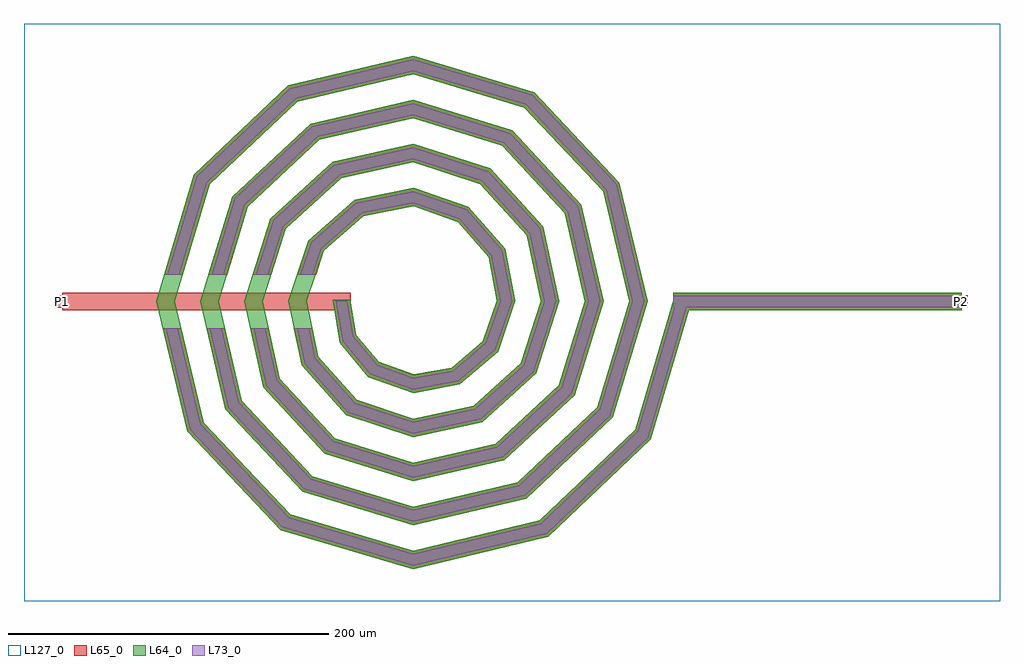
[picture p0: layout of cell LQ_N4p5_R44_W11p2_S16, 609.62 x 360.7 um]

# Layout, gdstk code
import gdstk
lib = gdstk.Library(unit=1e-6, precision=1e-09)
def R(c, l, rs):  # rectangles x0, y0, x1, y1
    for r in rs: c.add(gdstk.rectangle(r[:2], r[2:], *l))
def P(c, l, *ps):  # polygons
    for p in ps: c.add(gdstk.Polygon(p, *l))
L64_0 = (64, 0)
L65_0 = (65, 0)
L73_0 = (73, 0)
L127_0 = (127, 0)

lq_n4p5_r44_w11p2_s16 = lib.new_cell('LQ_N4p5_R44_W11p2_S16')
R(lq_n4p5_r44_w11p2_s16, L64_0, [(162.713,-5.6,342.713,5.6)])
P(lq_n4p5_r44_w11p2_s16, L64_0, [(-35.262,-20.968),(-21.22,-37.762),(0.482,-45.603),(24.347,-41.248),(43.684,-24.71),(52.478,0.425),(47.227,27.739),(28.19,49.614),(0.38,59.353),(-31.141,53.203),(-55.549,31.661),(-66.23,0.344),(-59.175,-34.55),(-35.127,-61.488),(0.314,-73.106),(37.964,-65.145),(67.431,-38.588),(79.983,0.289),(71.112,41.382),(42.047,73.375),(0.267,86.861),(-44.803,77.078),(-79.322,45.502),(-93.738,0.249),(-83.043,-48.226),(-48.955,-85.269),(0.233,-100.616),(51.652,-89.007),(91.218,-52.407),(107.493,0.219),(94.97,55.079),(55.857,97.168),(0.206,114.371),(-58.507,100.932),(-103.119,59.306),(-121.249,0.195),(-106.894,-61.937),(-62.754,-109.07),(0.185,-128.127),(65.367,-112.856),(115.022,-66.201),(135.005,0.176),(118.816,68.799),(69.647,120.974),(0.168,141.883),(-72.231,124.777),(-126.926,73.093),(-148.761,0.16),(-130.737,-75.664),(-76.538,-132.879),(0.154,-155.639),(79.097,-136.697),(138.833,-79.983),(162.942,1.587),(173.683,-1.587),(148.722,-86.037),(84.63,-146.887),(0.154,-167.23),(-82.604,-142.762),(-140.933,-81.185),(-160.352,0.16),(-136.802,79.171),(-77.74,134.98),(0.168,153.474),(75.738,130.841),(129.027,74.294),(146.595,0.176),(124.88,-72.306),(70.847,-123.075),(0.185,-139.717),(-68.875,-118.918),(-117.123,-67.4),(-132.838,0.195),(-112.956,65.445),(-63.951,111.171),(0.206,125.96),(62.016,106.994),(105.22,60.501),(119.081,0.219),(101.03,-58.588),(57.05,-99.27),(0.233,-112.203),(-55.161,-95.066),(-93.321,-53.598),(-105.324,0.249),(-89.1,51.736),(-50.143,87.372),(0.267,98.445),(48.314,83.133),(81.425,46.686),(91.566,0.289),(77.164,-44.894),(43.226,-75.479),(0.314,-84.687),(-41.477,-71.193),(-69.536,-39.762),(-77.807,0.344),(-65.219,38.065),(-36.292,63.594),(0.38,70.927),(34.658,59.241),(57.657,32.816),(64.046,0.425),(53.258,-31.259),(29.33,-51.723),(0.482,-57.164),(-27.871,-47.267),(-45.796,-25.83),(-50.027,0.938),(-38.985,0.938)])
R(lq_n4p5_r44_w11p2_s16, L65_0, [(-218.906,-5.6,-38.906,5.6), (162.713,-5.6,342.713,5.6), (-222.906,-4,-214.906,4), (338.713,-4,346.713,4)])
P(lq_n4p5_r44_w11p2_s16, L65_0, [(-130.737,-75.664),(-76.538,-132.879),(0.154,-155.639),(79.097,-136.697),(138.833,-79.983),(162.942,1.587),(173.683,-1.587),(148.722,-86.037),(84.63,-146.887),(0.154,-167.23),(-82.604,-142.762),(-140.934,-81.185),(-156.303,-16.8),(-144.789,-16.8)],
  [(-106.894,-61.937),(-62.754,-109.07),(0.185,-128.127),(65.367,-112.856),(115.022,-66.201),(135.005,0.176),(118.816,68.799),(69.647,120.974),(0.168,141.883),(-72.231,124.777),(-126.926,73.093),(-143.705,16.8),(-155.392,16.8),(-136.802,79.171),(-77.74,134.98),(0.168,153.474),(75.738,130.841),(129.028,74.294),(146.595,0.176),(124.88,-72.306),(70.847,-123.075),(0.185,-139.717),(-68.875,-118.919),(-117.123,-67.4),(-128.887,-16.8),(-117.388,-16.8)],
  [(-83.043,-48.226),(-48.955,-85.269),(0.233,-100.616),(51.652,-89.007),(91.218,-52.407),(107.493,0.219),(94.97,55.079),(55.857,97.168),(0.206,114.371),(-58.507,100.933),(-103.119,59.306),(-116.07,16.8),(-127.779,16.8),(-112.956,65.445),(-63.951,111.171),(0.206,125.96),(62.016,106.994),(105.22,60.501),(119.081,0.219),(101.03,-58.588),(57.05,-99.27),(0.233,-112.203),(-55.161,-95.066),(-93.321,-53.598),(-101.524,-16.8),(-90.049,-16.8)],
  [(-59.175,-34.55),(-35.127,-61.488),(0.314,-73.106),(37.964,-65.144),(67.431,-38.588),(79.983,0.289),(71.112,41.382),(42.047,73.375),(0.268,86.861),(-44.803,77.078),(-79.322,45.502),(-88.366,16.8),(-100.109,16.8),(-89.1,51.736),(-50.143,87.372),(0.268,98.445),(48.314,83.133),(81.425,46.686),(91.566,0.289),(77.164,-44.894),(43.226,-75.479),(0.314,-84.687),(-41.477,-71.193),(-69.536,-39.762),(-74.271,-16.8),(-62.836,-16.8)],
  [(-21.22,-37.762),(0.482,-45.604),(24.347,-41.248),(43.684,-24.71),(52.478,0.425),(47.227,27.739),(28.19,49.614),(0.38,59.353),(-31.141,53.203),(-55.549,31.661),(-60.508,16.8),(-72.316,16.8),(-65.219,38.065),(-36.292,63.595),(0.38,70.927),(34.658,59.241),(57.657,32.816),(64.046,0.425),(53.258,-31.259),(29.33,-51.723),(0.482,-57.164),(-27.871,-47.267),(-45.796,-25.83),(-50.027,0.938),(-38.985,0.938),(-35.262,-20.968)])
R(lq_n4p5_r44_w11p2_s16, L73_0, [(162.713,-3.6,342.713,3.6)])
P(lq_n4p5_r44_w11p2_s16, L73_0, [(-132.558,-76.65),(-77.621,-134.644),(0.099,-157.709),(80.085,-138.517),(140.599,-81.064),(164.86,1.02),(171.765,-1.02),(146.956,-84.956),(83.642,-145.067),(0.099,-165.16),(-81.521,-140.997),(-139.113,-80.199),(-154.247,-16.8),(-146.845,-16.8)],
  [(-108.721,-62.912),(-63.847,-110.829),(0.119,-130.196),(66.346,-114.68),(116.782,-67.291),(137.075,0.113),(120.64,69.78),(70.735,122.736),(0.108,143.953),(-73.215,126.599),(-128.69,74.178),(-145.792,16.8),(-153.305,16.8),(-135.038,78.085),(-76.756,133.158),(0.108,151.404),(74.651,129.079),(127.204,73.313),(144.526,0.113),(123.12,-71.216),(69.869,-121.25),(0.119,-137.647),(-67.782,-117.16),(-115.296,-66.424),(-126.834,-16.8),(-119.442,-16.8)],
  [(-84.879,-49.185),(-50.064,-87.019),(0.15,-102.685),(52.616,-90.84),(92.97,-53.511),(109.563,0.141),(96.801,56.047),(56.957,98.923),(0.133,116.441),(-59.479,102.761),(-104.875,60.402),(-118.161,16.8),(-125.688,16.8),(-111.2,64.349),(-62.979,109.343),(0.133,123.891),(60.916,105.239),(103.39,59.533),(117.012,0.141),(99.278,-57.484),(56.086,-97.437),(0.15,-110.134),(-54.053,-93.316),(-91.485,-52.638),(-99.474,-16.8),(-92.098,-16.8)],
  [(-61.025,-35.48),(-36.261,-63.221),(0.202,-75.174),(38.903,-66.99),(69.169,-39.714),(82.052,0.186),(72.954,42.329),(43.166,75.118),(0.172,88.929),(-45.756,78.917),(-81.068,46.615),(-90.463,16.8),(-98.012,16.8),(-87.354,50.623),(-49.189,85.534),(0.172,96.377),(47.195,81.391),(79.584,45.739),(89.498,0.186),(75.426,-43.768),(42.286,-73.634),(0.202,-82.619),(-40.343,-69.46),(-67.686,-38.831),(-72.229,-16.8),(-64.878,-16.8)],
  [(-22.408,-39.459),(0.31,-47.668),(25.237,-43.118),(45.393,-25.88),(54.544,0.273),(49.09,28.646),(29.345,51.333),(0.244,61.42),(-32.061,55.059),(-57.276,32.805),(-62.617,16.8),(-70.207,16.8),(-63.493,36.921),(-35.372,61.739),(0.244,68.86),(33.503,57.522),(55.794,31.909),(61.981,0.273),(51.548,-30.09),(28.44,-49.852),(0.31,-55.1),(-26.684,-45.57),(-43.915,-24.962),(-48.055,0.603),(-40.957,0.603),(-37.143,-21.837)])
R(lq_n4p5_r44_w11p2_s16, L127_0, [(-242.906,-187.23,366.713,173.474)])
lq_n4p5_r44_w11p2_s16.add(gdstk.Label('P2', (342.713,0), layer=65, texttype=0))
lq_n4p5_r44_w11p2_s16.add(gdstk.Label('P1', (-218.906,0), layer=65, texttype=0))
lq_n4p5_r44_w11p2_s16.add(gdstk.Label('P2', (346.713,0), layer=145, texttype=0))
lq_n4p5_r44_w11p2_s16.add(gdstk.Label('P1', (-222.906,0), layer=145, texttype=0))

lib.write_gds('LQ_N4p5_R44_W11p2_S16.gds')
